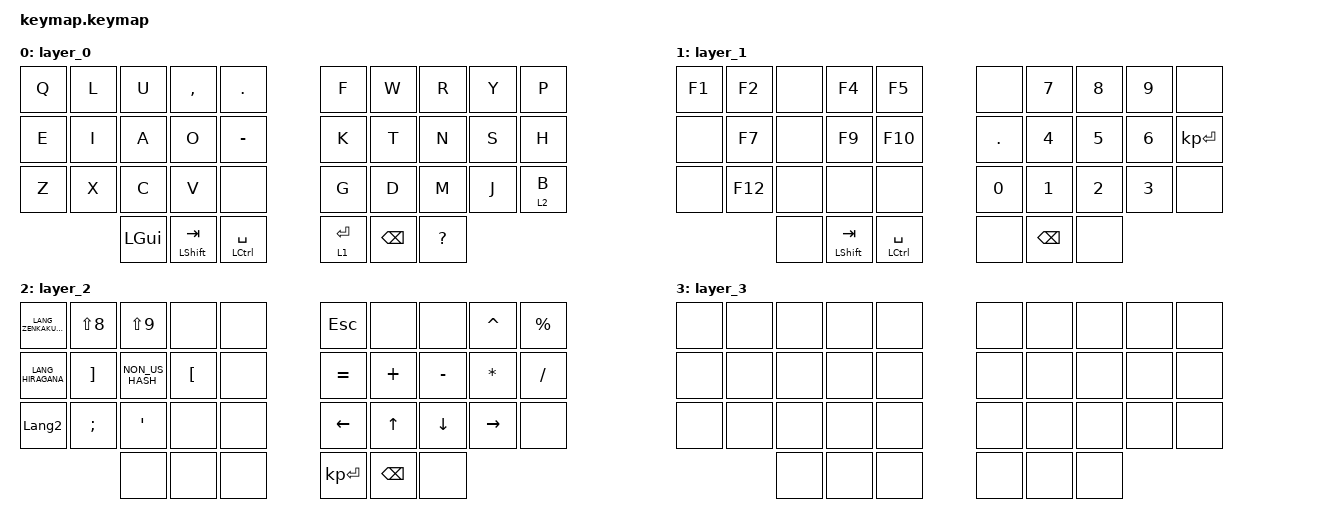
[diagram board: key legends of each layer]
#include <behaviors.dtsi>
#include <dt-bindings/zmk/keys.h>

/ {
    combos {
        compatible = "zmk,combos";

        comb.exc {
            bindings = <&kp EXCLAMATION>;
            key-positions = <35 31>;
        };

        comb.del {
            bindings = <&kp DELETE>;
            key-positions = <31 34>;
        };
    };

    keymap {
        compatible = "zmk,keymap";

        layer_0 {
            bindings = <
&kp Q  &kp L  &kp U     &kp COMMA           &kp PERIOD              &kp F        &kp W          &kp R         &kp Y  &kp P
&kp E  &kp I  &kp A     &kp O               &kp MINUS               &kp K        &kp T          &kp N         &kp S  &kp H
&kp Z  &kp X  &kp C     &kp V               &none                   &kp G        &kp D          &kp M         &kp J  &lt 2 B
              &kp LGUI  &mt LEFT_SHIFT TAB  &mt LEFT_CONTROL SPACE  &lt 1 ENTER  &kp BACKSPACE  &kp QUESTION
            >;
        };

        layer_1 {
            bindings = <
&kp F1  &kp F2   &none  &kp F4              &kp F5                  &none    &kp N7         &kp N8        &kp N9        &none
&none   &kp F7   &none  &kp F9              &kp F10                 &kp DOT  &kp NUMBER_4   &kp N5        &kp NUMBER_6  &kp KP_ENTER
&none   &kp F12  &none  &none               &none                   &kp N0   &kp NUMBER_1   &kp NUMBER_2  &kp NUMBER_3  &none
                 &none  &mt LEFT_SHIFT TAB  &mt LEFT_CONTROL SPACE  &none    &kp BACKSPACE  &none
            >;
        };

        layer_2 {
            bindings = <
&kp LANG_ZENKAKUHANKAKU  &kp LS(N8)         &kp LS(N9)       &none             &none  &kp ESC       &none          &none      &kp CARET     &kp PERCENT
&kp LANG_HIRAGANA        &kp RIGHT_BRACKET  &kp NON_US_HASH  &kp LEFT_BRACKET  &none  &kp EQUAL     &kp PLUS       &kp MINUS  &kp ASTERISK  &kp SLASH
&kp LANGUAGE_2           &kp SEMICOLON      &kp SQT          &none             &none  &kp LEFT      &kp UP         &kp DOWN   &kp RIGHT     &none
                                            &none            &none             &none  &kp KP_ENTER  &kp BACKSPACE  &none
            >;
        };

        layer_3 {
            bindings = <
&none  &none  &none  &none  &none  &none  &none  &none  &none  &none
&none  &none  &none  &none  &none  &none  &none  &none  &none  &none
&none  &none  &none  &none  &none  &none  &none  &none  &none  &none
              &none  &none  &none  &none  &none  &none
            >;
        };
    };
};
